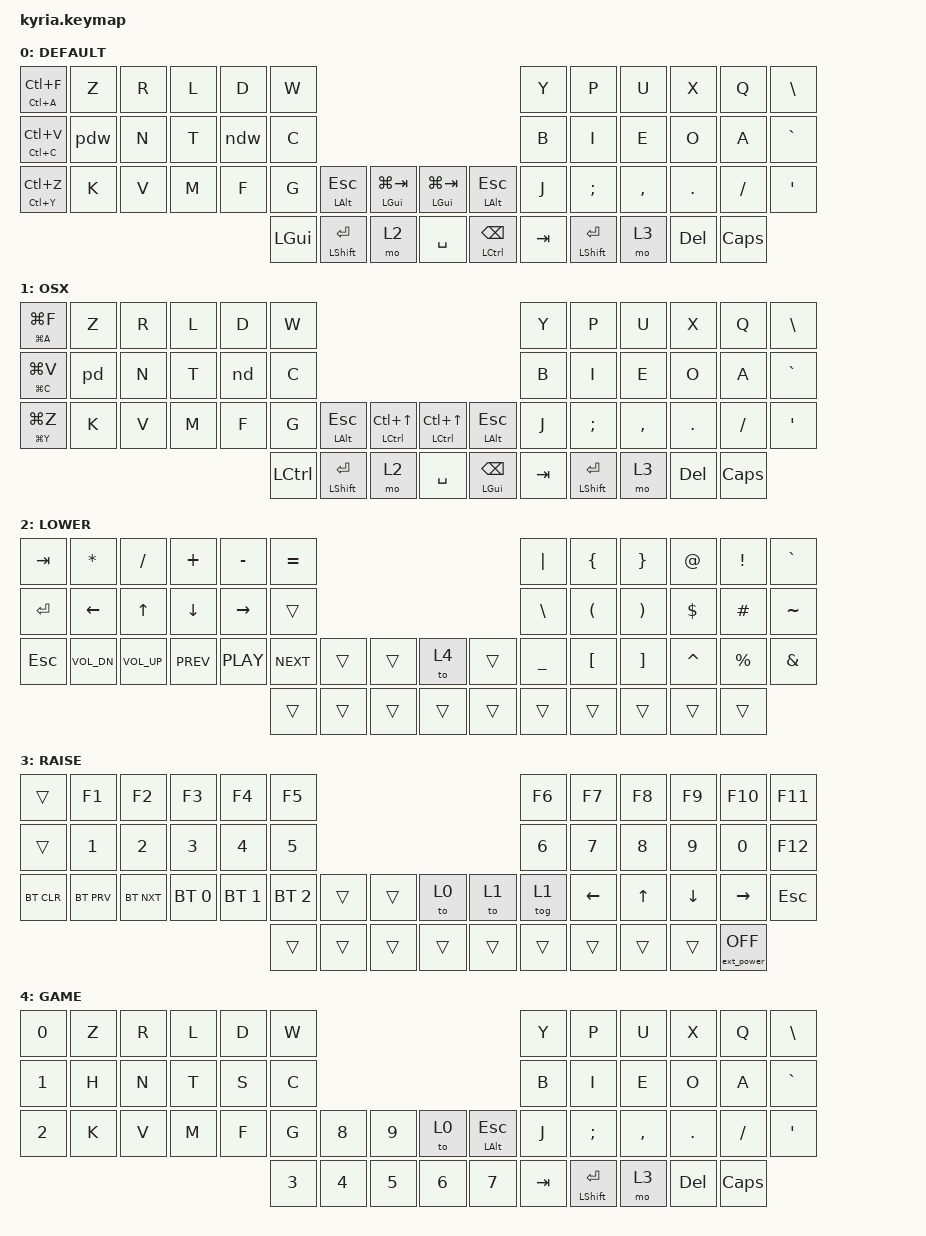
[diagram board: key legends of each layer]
/*
 * Copyright (c) 2020 The ZMK Contributors
 *
 * SPDX-License-Identifier: MIT
 */

#include <behaviors.dtsi>
#include <dt-bindings/zmk/keys.h>
#include <dt-bindings/zmk/bt.h>
#include <dt-bindings/zmk/ext_power.h>

//Layer Aliases
#define DEFAULT 0
#define WINDOWS 1
#define LOWER 2
#define RAISE 3
#define GAME 4

//Mod Tap Aliases
#define CMD_BSP &mt LGUI BSPC
//#define CTL_BSP &mt LCTL BSPC
#define SFT_ENT &mt LSHFT RET
#define ALT_ESC &mt LALT ESC

//Hold Tap Defines
#define COPY &ht LG(C) LG(V)
#define FIND &ht LG(A) LG(F)
#define UNDO &ht LG(Y) LG(Z)
#define W_COPY &ht LC(C) LC(V)
#define W_FIND &ht LC(A) LC(F)
#define W_UNDO &ht LC(Y) LC(Z)
#define MSN_CTL &ht LCTL LC(UP)
#define WIN_TSK &ht LGUI LG(TAB)
#define CTL_BSP &ht LCTL BSPC

/ {
	behaviors {
	    ht: hold_tap {
	            compatible = "zmk,behavior-hold-tap";
	            label = "HT";
	            #binding-cells = <2>;
	            tapping-term-ms = <250>;
	            quick-tap-ms = <150>;
	            flavor = "tap-preferred";
	            bindings = <&kp>, <&kp>;
	    };
			pd: prev_desktop {
							compatible = "zmk,behavior-mod-morph";
							label = "PD";
							#binding-cells = <0>;
							bindings = <&kp H>, <&kp LEFT>;
							mods = <(MOD_LCTL|MOD_RCTL)>;
							keep-mods = <(MOD_LCTL)>;
			};
			nd: next_desktop {
							compatible = "zmk,behavior-mod-morph";
							label = "ND";
							#binding-cells = <0>;
							bindings = <&kp S>, <&kp RIGHT>;
							mods = <(MOD_LCTL|MOD_RCTL)>;
							keep-mods = <(MOD_LCTL)>;
			};
			pdw: prev_desktop_windows {
							compatible = "zmk,behavior-mod-morph";
							label = "PDW";
							#binding-cells = <0>;
							bindings = <&kp H>, <&kp LC(LEFT)>;
							mods = <(MOD_LGUI|MOD_RGUI)>;
							keep-mods = <(MOD_LGUI)>;
			};
			ndw: next_desktop_windows {
							compatible = "zmk,behavior-mod-morph";
							label = "NDW";
							#binding-cells = <0>;
							bindings = <&kp S>, <&kp LC(RIGHT)>;
							mods = <(MOD_LGUI|MOD_RGUI)>;
							keep-mods = <(MOD_LGUI)>;
			};
		};
	keymap {
		compatible = "zmk,keymap";

		default_layer {
			label = "DEFAULT";
			bindings = <
			W_FIND &kp Z &kp R &kp L    &kp D    &kp W                                       &kp Y &kp P    &kp U     &kp X   &kp Q    &kp BSLH
			W_COPY &pdw  &kp N &kp T    &ndw     &kp C                                       &kp B &kp I    &kp E     &kp O   &kp A    &kp GRAVE
			W_UNDO &kp K &kp V &kp M    &kp F    &kp G ALT_ESC   WIN_TSK     WIN_TSK ALT_ESC &kp J &kp SEMI &kp COMMA &kp DOT &kp FSLH &kp SQT
										     &kp LGUI SFT_ENT  &mo 2 &kp SPACE CTL_BSP     &kp TAB SFT_ENT &mo 3 &kp DEL  &kp CAPS
			>;
			
		};
		OSX_layer {
			label = "OSX";
			bindings = <
			FIND &kp Z &kp R &kp L    &kp D    &kp W                                           &kp Y &kp P    &kp U     &kp X   &kp Q    &kp BSLH
			COPY &pd   &kp N &kp T    &nd      &kp C                                           &kp B &kp I    &kp E     &kp O   &kp A    &kp GRAVE
			UNDO &kp K &kp V &kp M    &kp F    &kp G ALT_ESC   MSN_CTL       MSN_CTL ALT_ESC   &kp J &kp SEMI &kp COMMA &kp DOT &kp FSLH &kp SQT
	                     &kp LCTL SFT_ENT  &mo 2 &kp SPACE CMD_BSP       &kp TAB SFT_ENT   &mo 3 &kp DEL  &kp CAPS
			>;
		};
    lower_layer {
			label = "LOWER";
			bindings = <
			&kp TAB &kp STAR     &kp FSLH     &kp PLUS   &kp MINUS  &kp EQUAL                                 &kp PIPE  &kp LBRC  &kp RBRC &kp AT    &kp EXCL  &kp GRAVE
			&kp RET &kp LEFT     &kp UP       &kp DOWN   &kp RIGHT  &trans                                    &kp BSLH  &kp LPAR  &kp RPAR &kp DLLR  &kp HASH  &kp TILDE
			&kp ESC &kp C_VOL_DN &kp C_VOL_UP &kp C_PREV &kp C_PLAY &kp C_NEXT &trans &trans    &to 4  &trans &kp UNDER &kp LBKT  &kp RBKT &kp CARET &kp PRCNT &kp AMPS
	                                      &trans     &trans     &trans     &trans &trans    &trans &trans &trans    &trans  &trans
			>;
    };
    raise_layer {
			label = "RAISE";
      bindings = <
			&trans     &kp F1     &kp F2     &kp F3       &kp F4 &kp F5                                              &kp F6 &kp F7   &kp F8 &kp F9   &kp F10   &kp F11
			&trans     &kp N1     &kp N2     &kp N3       &kp N4 &kp N5                                              &kp N6 &kp N7   &kp N8 &kp N9   &kp N0    &kp F12
			&bt BT_CLR &bt BT_PRV &bt BT_NXT &bt BT_SEL 0 &bt BT_SEL 1 &bt BT_SEL 2 &trans &trans      &to 0  &to 1  &tog 1 &kp LEFT &kp UP &kp DOWN &kp RIGHT &kp ESC
			                                 &trans       &trans       &trans       &trans &trans      &trans &trans &trans &trans   &ext_power EP_OFF
      >;
    };
		game_layer {
			label = "GAME";
      bindings = <
			&kp N0 &kp Z &kp R &kp L    &kp D    &kp W                                       &kp Y &kp P    &kp U     &kp X   &kp Q    &kp BSLH
			&kp N1 &kp H &kp N &kp T    &kp S    &kp C                                       &kp B &kp I    &kp E     &kp O   &kp A    &kp GRAVE
			&kp N2 &kp K &kp V &kp M    &kp F    &kp G  &kp N8   &kp N9      &to 0 ALT_ESC &kp J &kp SEMI &kp COMMA &kp DOT &kp FSLH &kp SQT
										     &kp N3   &kp N4   &kp N5 &kp N6   &kp N7      &kp TAB SFT_ENT &mo 3 &kp DEL  &kp CAPS
			>;
    };
	};
};
//test
